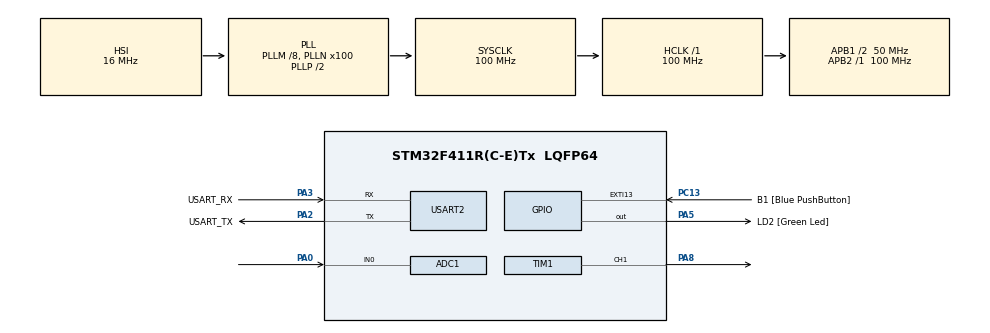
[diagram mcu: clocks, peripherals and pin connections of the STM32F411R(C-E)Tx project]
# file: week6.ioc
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ADC1.Channel-0\#ChannelRegularConversion=ADC_CHANNEL_0
ADC1.ExternalTrigConv=ADC_EXTERNALTRIGCONV_T3_TRGO
ADC1.NbrOfConversionFlag=1
ADC1.Rank-0\#ChannelRegularConversion=1
ADC1.SamplingTime-0\#ChannelRegularConversion=ADC_SAMPLETIME_56CYCLES
ADC1.master=1
Mcu.Family=STM32F4
Mcu.Name=STM32F411R(C-E)Tx
Mcu.Package=LQFP64
NVIC.ADC_IRQn=true\:0\:0\:false\:false\:true\:true\:true
NVIC.PriorityGroup=NVIC_PRIORITYGROUP_0
NVIC.TIM1_TRG_COM_TIM11_IRQn=true\:0\:0\:false\:false\:true\:true\:true
PA0-WKUP.Signal=ADCx_IN0
PA13.GPIO_Label=TMS
PA13.Mode=Serial_Wire
PA13.Signal=SYS_JTMS-SWDIO
PA14.GPIO_Label=TCK
PA14.Mode=Serial_Wire
PA14.Signal=SYS_JTCK-SWCLK
PA2.GPIO_Label=USART_TX
PA2.Mode=Asynchronous
PA2.Signal=USART2_TX
PA3.GPIO_Label=USART_RX
PA3.Mode=Asynchronous
PA3.Signal=USART2_RX
PA5.GPIO_Label=LD2 [Green Led]
PA5.Signal=GPIO_Output
PA8.Signal=S_TIM1_CH1
PB3.GPIO_Label=SWO
PB3.Signal=SYS_JTDO-SWO
PC13-ANTI_TAMP.GPIO_Label=B1 [Blue PushButton]
PC13-ANTI_TAMP.GPIO_ModeDefaultEXTI=GPIO_MODE_IT_FALLING
PC13-ANTI_TAMP.Signal=GPXTI13
PC14-OSC32_IN.Mode=LSE-External-Oscillator
PC14-OSC32_IN.Signal=RCC_OSC32_IN
PC15-OSC32_OUT.Mode=LSE-External-Oscillator
PC15-OSC32_OUT.Signal=RCC_OSC32_OUT
PH0\ -\ OSC_IN.Mode=HSE-External-Clock-Source
PH0\ -\ OSC_IN.Signal=RCC_OSC_IN
PH1\ -\ OSC_OUT.Mode=HSE-External-Clock-Source
PH1\ -\ OSC_OUT.Signal=RCC_OSC_OUT
ProjectManager.HeapSize=0x200
ProjectManager.StackSize=0x400
ProjectManager.TargetToolchain=STM32CubeIDE
RCC.48MHZClocksFreq_Value=50000000
RCC.AHBFreq_Value=100000000
RCC.APB1CLKDivider=RCC_HCLK_DIV2
RCC.APB1Freq_Value=50000000
RCC.APB1TimFreq_Value=100000000
RCC.APB2Freq_Value=100000000
RCC.APB2TimFreq_Value=100000000
RCC.CortexFreq_Value=100000000
RCC.FLatency-AdvancedSettings=FLASH_LATENCY_3
RCC.HCLKFreq_Value=100000000
RCC.HSE_VALUE=8000000
RCC.HSI_VALUE=16000000
RCC.PLLM=8
RCC.PLLN=100
RCC.SYSCLKFreq_VALUE=100000000
RCC.SYSCLKSource=RCC_SYSCLKSOURCE_PLLCLK
RCC.VCOOutputFreq_Value=200000000
SH.ADCx_IN0.0=ADC1_IN0,IN0
SH.S_TIM1_CH1.0=TIM1_CH1,PWM Generation1 CH1
TIM1.Channel-PWM\ Generation1\ CH1=TIM_CHANNEL_1
TIM1.Period=10000
TIM1.Pulse-PWM\ Generation1\ CH1=5000
TIM11.Prescaler=99
TIM3.Period=1000
TIM3.Prescaler=99
TIM3.TIM_MasterOutputTrigger=TIM_TRGO_UPDATE
USART2.VirtualMode=VM_ASYNC
VP_TIM11_VS_ClockSourceINT.Mode=Enable_Timer
VP_TIM1_VS_ClockSourceINT.Mode=Internal
VP_TIM3_VS_ClockSourceINT.Mode=Internal
board=NUCLEO-F411RE

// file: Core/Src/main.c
/* USER CODE BEGIN Header */
/**
 ******************************************************************************
 * @file           : main.c
 * @brief          : Main program body
 ******************************************************************************
 * @attention
 *
 * <h2><center>&copy; Copyright (c) 2021 STMicroelectronics.
 * All rights reserved.</center></h2>
 *
 * This software component is licensed by ST under BSD 3-Clause license,
 * the "License"; You may not use this file except in compliance with the
 * License. You may obtain a copy of the License at:
 *                        opensource.org/licenses/BSD-3-Clause
 *
 ******************************************************************************
 */
/* USER CODE END Header */
#include "main.h"

ADC_HandleTypeDef hadc1;

TIM_HandleTypeDef htim1;
TIM_HandleTypeDef htim3;
TIM_HandleTypeDef htim11;

UART_HandleTypeDef huart2;

/* USER CODE BEGIN PV */

uint8_t ADCUpdateFlag = 0;
//Store ADC Value
uint16_t ADCFeedBack = 0;
float error=0;
float kp=0;
float PWMOut = 3000;
float real=0;
uint64_t _micro = 0;
uint64_t TimeOutputLoop = 0;
float vadc=0;
void pid();
/* USER CODE END PV */

void SystemClock_Config(void);
static void MX_GPIO_Init(void);
static void MX_USART2_UART_Init(void);
static void MX_ADC1_Init(void);
static void MX_TIM1_Init(void);
static void MX_TIM3_Init(void);
static void MX_TIM11_Init(void);
/* USER CODE BEGIN PFP */
uint64_t micros();
/* USER CODE END PFP */

int main(void)
{

  /* MCU Configuration--------------------------------------------------------*/

  /* Reset of all peripherals, Initializes the Flash interface and the Systick. */
  HAL_Init();

  /* Configure the system clock */
  SystemClock_Config();

  /* Initialize all configured peripherals */
  MX_GPIO_Init();
  MX_USART2_UART_Init();
  MX_ADC1_Init();
  MX_TIM1_Init();
  MX_TIM3_Init();
  MX_TIM11_Init();
  /* USER CODE BEGIN 2 */
	//ADC START
	HAL_ADC_Start_IT(&hadc1);
	HAL_TIM_Base_Start(&htim3);
	// start pwm
	HAL_TIM_Base_Start(&htim1);
	HAL_TIM_PWM_Start(&htim1, TIM_CHANNEL_1);
	// start micros
	HAL_TIM_Base_Start_IT(&htim11);

  /* USER CODE END 2 */

  /* Infinite loop */
	while (1)
	{

    /* USER CODE BEGIN 3 */

		//1 Khz Loop
		if (micros() - TimeOutputLoop >= 1000)//uS
		{
			TimeOutputLoop = micros();
			// #00
			pid();
			__HAL_TIM_SET_COMPARE(&htim1, TIM_CHANNEL_1, PWMOut);

		}

	}
  /* USER CODE END 3 */
}

void SystemClock_Config(void)
{
  RCC_OscInitTypeDef RCC_OscInitStruct = {0};
  RCC_ClkInitTypeDef RCC_ClkInitStruct = {0};

  /** Configure the main internal regulator output voltage
  */
  __HAL_RCC_PWR_CLK_ENABLE();
  __HAL_PWR_VOLTAGESCALING_CONFIG(PWR_REGULATOR_VOLTAGE_SCALE1);
  /** Initializes the RCC Oscillators according to the specified parameters
  * in the RCC_OscInitTypeDef structure.
  */
  RCC_OscInitStruct.OscillatorType = RCC_OSCILLATORTYPE_HSI;
  RCC_OscInitStruct.HSIState = RCC_HSI_ON;
  RCC_OscInitStruct.HSICalibrationValue = RCC_HSICALIBRATION_DEFAULT;
  RCC_OscInitStruct.PLL.PLLState = RCC_PLL_ON;
  RCC_OscInitStruct.PLL.PLLSource = RCC_PLLSOURCE_HSI;
  RCC_OscInitStruct.PLL.PLLM = 8;
  RCC_OscInitStruct.PLL.PLLN = 100;
  RCC_OscInitStruct.PLL.PLLP = RCC_PLLP_DIV2;
  RCC_OscInitStruct.PLL.PLLQ = 4;
  if (HAL_RCC_OscConfig(&RCC_OscInitStruct) != HAL_OK)
  {
    Error_Handler();
  }
  /** Initializes the CPU, AHB and APB buses clocks
  */
  RCC_ClkInitStruct.ClockType = RCC_CLOCKTYPE_HCLK|RCC_CLOCKTYPE_SYSCLK
                              |RCC_CLOCKTYPE_PCLK1|RCC_CLOCKTYPE_PCLK2;
  RCC_ClkInitStruct.SYSCLKSource = RCC_SYSCLKSOURCE_PLLCLK;
  RCC_ClkInitStruct.AHBCLKDivider = RCC_SYSCLK_DIV1;
  RCC_ClkInitStruct.APB1CLKDivider = RCC_HCLK_DIV2;
  RCC_ClkInitStruct.APB2CLKDivider = RCC_HCLK_DIV1;

  if (HAL_RCC_ClockConfig(&RCC_ClkInitStruct, FLASH_LATENCY_3) != HAL_OK)
  {
    Error_Handler();
  }
}

static void MX_ADC1_Init(void)
{

  ADC_ChannelConfTypeDef sConfig = {0};

  /** Configure the global features of the ADC (Clock, Resolution, Data Alignment and number of conversion)
  */
  hadc1.Instance = ADC1;
  hadc1.Init.ClockPrescaler = ADC_CLOCK_SYNC_PCLK_DIV4;
  hadc1.Init.Resolution = ADC_RESOLUTION_12B;
  hadc1.Init.ScanConvMode = DISABLE;
  hadc1.Init.ContinuousConvMode = DISABLE;
  hadc1.Init.DiscontinuousConvMode = DISABLE;
  hadc1.Init.ExternalTrigConvEdge = ADC_EXTERNALTRIGCONVEDGE_RISING;
  hadc1.Init.ExternalTrigConv = ADC_EXTERNALTRIGCONV_T3_TRGO;
  hadc1.Init.DataAlign = ADC_DATAALIGN_RIGHT;
  hadc1.Init.NbrOfConversion = 1;
  hadc1.Init.DMAContinuousRequests = DISABLE;
  hadc1.Init.EOCSelection = ADC_EOC_SINGLE_CONV;
  if (HAL_ADC_Init(&hadc1) != HAL_OK)
  {
    Error_Handler();
  }
  /** Configure for the selected ADC regular channel its corresponding rank in the sequencer and its sample time.
  */
  sConfig.Channel = ADC_CHANNEL_0;
  sConfig.Rank = 1;
  sConfig.SamplingTime = ADC_SAMPLETIME_56CYCLES;
  if (HAL_ADC_ConfigChannel(&hadc1, &sConfig) != HAL_OK)
  {
    Error_Handler();
  }

}

static void MX_TIM1_Init(void)
{

  TIM_ClockConfigTypeDef sClockSourceConfig = {0};
  TIM_MasterConfigTypeDef sMasterConfig = {0};
  TIM_OC_InitTypeDef sConfigOC = {0};
  TIM_BreakDeadTimeConfigTypeDef sBreakDeadTimeConfig = {0};

  htim1.Instance = TIM1;
  htim1.Init.Prescaler = 0;
  htim1.Init.CounterMode = TIM_COUNTERMODE_UP;
  htim1.Init.Period = 10000;
  htim1.Init.ClockDivision = TIM_CLOCKDIVISION_DIV1;
  htim1.Init.RepetitionCounter = 0;
  htim1.Init.AutoReloadPreload = TIM_AUTORELOAD_PRELOAD_DISABLE;
  if (HAL_TIM_Base_Init(&htim1) != HAL_OK)
  {
    Error_Handler();
  }
  sClockSourceConfig.ClockSource = TIM_CLOCKSOURCE_INTERNAL;
  if (HAL_TIM_ConfigClockSource(&htim1, &sClockSourceConfig) != HAL_OK)
  {
    Error_Handler();
  }
  if (HAL_TIM_PWM_Init(&htim1) != HAL_OK)
  {
    Error_Handler();
  }
  sMasterConfig.MasterOutputTrigger = TIM_TRGO_RESET;
  sMasterConfig.MasterSlaveMode = TIM_MASTERSLAVEMODE_DISABLE;
  if (HAL_TIMEx_MasterConfigSynchronization(&htim1, &sMasterConfig) != HAL_OK)
  {
    Error_Handler();
  }
  sConfigOC.OCMode = TIM_OCMODE_PWM1;
  sConfigOC.Pulse = 5000;
  sConfigOC.OCPolarity = TIM_OCPOLARITY_HIGH;
  sConfigOC.OCNPolarity = TIM_OCNPOLARITY_HIGH;
  sConfigOC.OCFastMode = TIM_OCFAST_DISABLE;
  sConfigOC.OCIdleState = TIM_OCIDLESTATE_RESET;
  sConfigOC.OCNIdleState = TIM_OCNIDLESTATE_RESET;
  if (HAL_TIM_PWM_ConfigChannel(&htim1, &sConfigOC, TIM_CHANNEL_1) != HAL_OK)
  {
    Error_Handler();
  }
  sBreakDeadTimeConfig.OffStateRunMode = TIM_OSSR_DISABLE;
  sBreakDeadTimeConfig.OffStateIDLEMode = TIM_OSSI_DISABLE;
  sBreakDeadTimeConfig.LockLevel = TIM_LOCKLEVEL_OFF;
  sBreakDeadTimeConfig.DeadTime = 0;
  sBreakDeadTimeConfig.BreakState = TIM_BREAK_DISABLE;
  sBreakDeadTimeConfig.BreakPolarity = TIM_BREAKPOLARITY_HIGH;
  sBreakDeadTimeConfig.AutomaticOutput = TIM_AUTOMATICOUTPUT_DISABLE;
  if (HAL_TIMEx_ConfigBreakDeadTime(&htim1, &sBreakDeadTimeConfig) != HAL_OK)
  {
    Error_Handler();
  }
  HAL_TIM_MspPostInit(&htim1);

}

static void MX_TIM3_Init(void)
{

  TIM_ClockConfigTypeDef sClockSourceConfig = {0};
  TIM_MasterConfigTypeDef sMasterConfig = {0};

  htim3.Instance = TIM3;
  htim3.Init.Prescaler = 99;
  htim3.Init.CounterMode = TIM_COUNTERMODE_UP;
  htim3.Init.Period = 1000;
  htim3.Init.ClockDivision = TIM_CLOCKDIVISION_DIV1;
  htim3.Init.AutoReloadPreload = TIM_AUTORELOAD_PRELOAD_DISABLE;
  if (HAL_TIM_Base_Init(&htim3) != HAL_OK)
  {
    Error_Handler();
  }
  sClockSourceConfig.ClockSource = TIM_CLOCKSOURCE_INTERNAL;
  if (HAL_TIM_ConfigClockSource(&htim3, &sClockSourceConfig) != HAL_OK)
  {
    Error_Handler();
  }
  sMasterConfig.MasterOutputTrigger = TIM_TRGO_UPDATE;
  sMasterConfig.MasterSlaveMode = TIM_MASTERSLAVEMODE_DISABLE;
  if (HAL_TIMEx_MasterConfigSynchronization(&htim3, &sMasterConfig) != HAL_OK)
  {
    Error_Handler();
  }

}

static void MX_TIM11_Init(void)
{

  htim11.Instance = TIM11;
  htim11.Init.Prescaler = 99;
  htim11.Init.CounterMode = TIM_COUNTERMODE_UP;
  htim11.Init.Period = 65535;
  htim11.Init.ClockDivision = TIM_CLOCKDIVISION_DIV1;
  htim11.Init.AutoReloadPreload = TIM_AUTORELOAD_PRELOAD_DISABLE;
  if (HAL_TIM_Base_Init(&htim11) != HAL_OK)
  {
    Error_Handler();
  }

}

static void MX_USART2_UART_Init(void)
{

  huart2.Instance = USART2;
  huart2.Init.BaudRate = 115200;
  huart2.Init.WordLength = UART_WORDLENGTH_8B;
  huart2.Init.StopBits = UART_STOPBITS_1;
  huart2.Init.Parity = UART_PARITY_NONE;
  huart2.Init.Mode = UART_MODE_TX_RX;
  huart2.Init.HwFlowCtl = UART_HWCONTROL_NONE;
  huart2.Init.OverSampling = UART_OVERSAMPLING_16;
  if (HAL_UART_Init(&huart2) != HAL_OK)
  {
    Error_Handler();
  }

}

static void MX_GPIO_Init(void)
{
  GPIO_InitTypeDef GPIO_InitStruct = {0};

  /* GPIO Ports Clock Enable */
  __HAL_RCC_GPIOC_CLK_ENABLE();
  __HAL_RCC_GPIOH_CLK_ENABLE();
  __HAL_RCC_GPIOA_CLK_ENABLE();
  __HAL_RCC_GPIOB_CLK_ENABLE();

  /*Configure GPIO pin Output Level */
  HAL_GPIO_WritePin(LD2_GPIO_Port, LD2_Pin, GPIO_PIN_RESET);

  /*Configure GPIO pin : B1_Pin */
  GPIO_InitStruct.Pin = B1_Pin;
  GPIO_InitStruct.Mode = GPIO_MODE_IT_FALLING;
  GPIO_InitStruct.Pull = GPIO_NOPULL;
  HAL_GPIO_Init(B1_GPIO_Port, &GPIO_InitStruct);

  /*Configure GPIO pin : LD2_Pin */
  GPIO_InitStruct.Pin = LD2_Pin;
  GPIO_InitStruct.Mode = GPIO_MODE_OUTPUT_PP;
  GPIO_InitStruct.Pull = GPIO_NOPULL;
  GPIO_InitStruct.Speed = GPIO_SPEED_FREQ_LOW;
  HAL_GPIO_Init(LD2_GPIO_Port, &GPIO_InitStruct);

}

/* USER CODE BEGIN 4 */
void pid()
{
 error = 1 - vadc;
 PWMOut = PWMOut + (error*kp);
 //real = PWMOut;
}

void HAL_ADC_ConvCpltCallback(ADC_HandleTypeDef *hadc)
{
	ADCFeedBack = HAL_ADC_GetValue(&hadc1);
	vadc = ADCFeedBack*3.3/4096;
	ADCUpdateFlag = 1;
}
void HAL_TIM_PeriodElapsedCallback(TIM_HandleTypeDef *htim)
{
	if (htim == &htim11)
	{
		_micro += 65535;
	}
}

__inline__ uint64_t micros()
{
	return _micro + htim11.Instance->CNT;
}
/* USER CODE END 4 */

void Error_Handler(void)
{
	__disable_irq();
	while (1)
	{
	}
}

/************************ (C) COPYRIGHT STMicroelectronics *****END OF FILE****/
